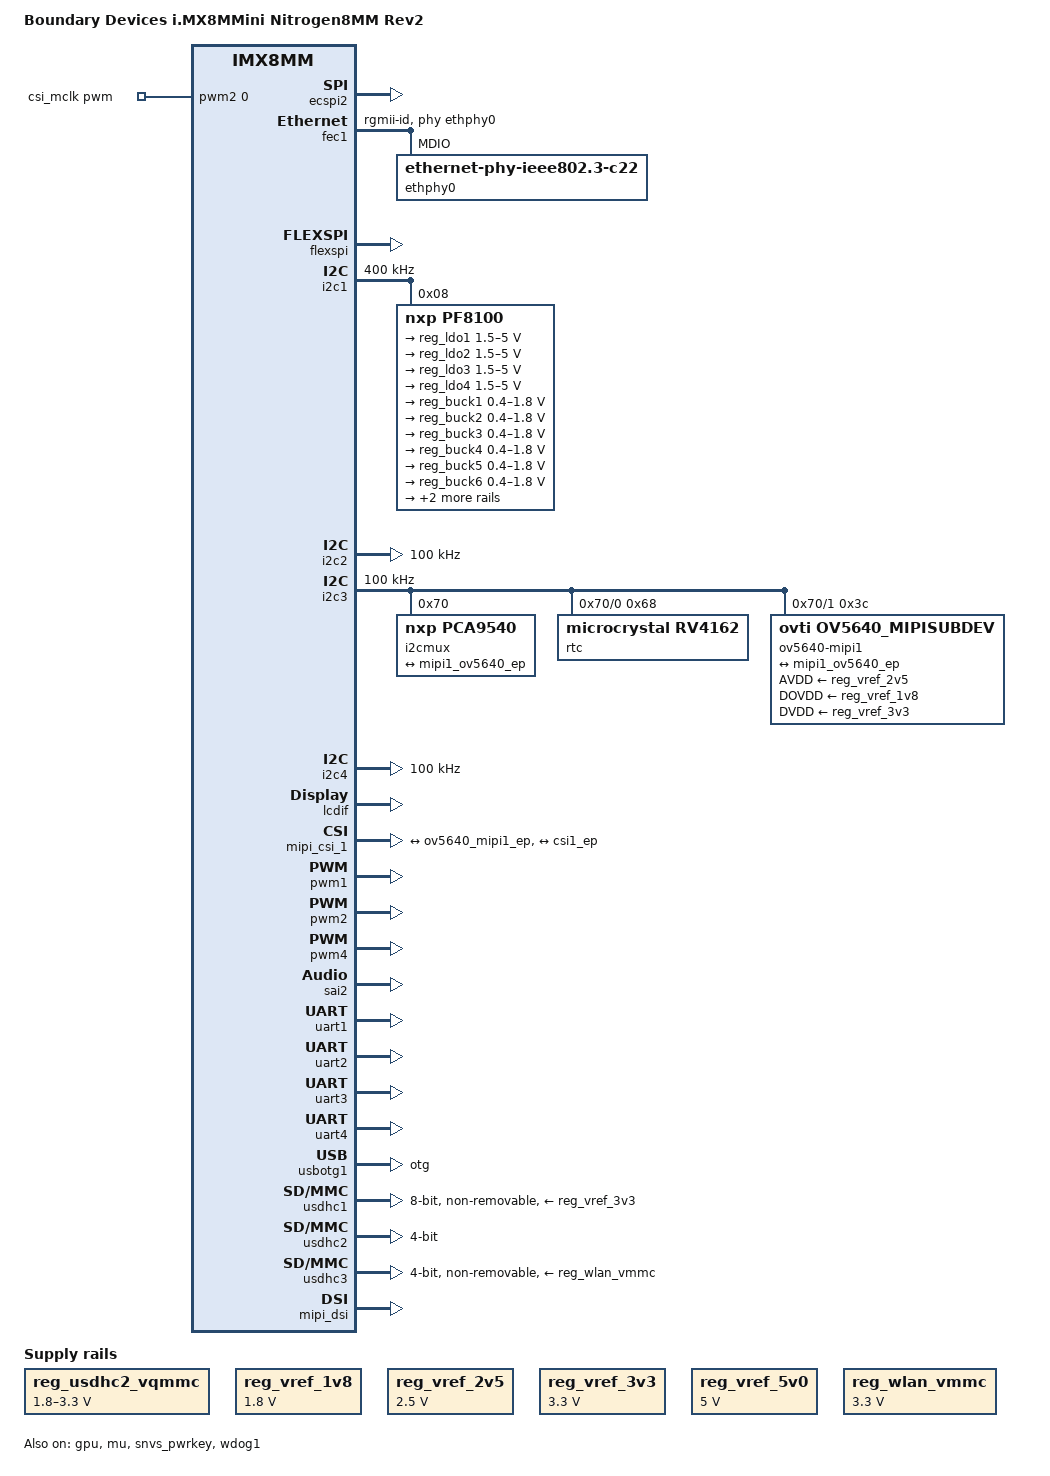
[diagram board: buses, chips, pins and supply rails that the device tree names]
// SPDX-License-Identifier: (GPL-2.0+ OR MIT)
/*
 * Copyright 2018 Boundary Devices
 */
&iomuxc {
	pinctrl-names = "default";
	pinctrl-0 = <&pinctrl_hog>;

	pinctrl_bt_rfkill: bt-rfkillgrp {
		fsl,pins = <
#define GP_BT_RFKILL_RESET	<&gpio3 14 GPIO_ACTIVE_LOW>
			MX8MMN(IOMUXC_NAND_DQS_GPIO3_IO14, 0x119)
		>;
	};

	pinctrl_ecspi2: ecspi2grp {
		fsl,pins = <
			/* J15 */
#define GP_ECSPI2_CS0	<&gpio5 13 GPIO_ACTIVE_LOW>
			MX8MMN(IOMUXC_ECSPI2_SS0_GPIO5_IO13, 0x140)	/* Pin 39 */
			MX8MMN(IOMUXC_ECSPI2_MISO_ECSPI2_MISO, 0x19)	/* Pin 41 */
			MX8MMN(IOMUXC_ECSPI2_SCLK_ECSPI2_SCLK, 0x19)	/* Pin 43 */
			MX8MMN(IOMUXC_ECSPI2_MOSI_ECSPI2_MOSI, 0x19)	/* Pin 45 */
		>;
	};

	pinctrl_fec1: fec1grp {
		fsl,pins = <
			/* PAD_CTL_ODE is screwy on 8mm mini, avoid it */
#define GP_MII_MDC	<&gpio1 16 GPIO_PULSE_HIGH>
			MX8MMN(IOMUXC_ENET_MDC_GPIO1_IO16, 0x00)
#define GP_MII_MDIO	<&gpio1 17 GPIO_ACTIVE_HIGH>
			MX8MMN(IOMUXC_ENET_MDIO_GPIO1_IO17, 0x00)
			MX8MMN(IOMUXC_ENET_RD0_ENET1_RGMII_RD0, 0x91)
			MX8MMN(IOMUXC_ENET_RD1_ENET1_RGMII_RD1, 0x91)
			MX8MMN(IOMUXC_ENET_RD2_ENET1_RGMII_RD2, 0x91)
			MX8MMN(IOMUXC_ENET_RD3_ENET1_RGMII_RD3, 0x91)
			MX8MMN(IOMUXC_ENET_RXC_ENET1_RGMII_RXC, 0x91)
			MX8MMN(IOMUXC_ENET_RX_CTL_ENET1_RGMII_RX_CTL, 0x91)
			MX8MMN(IOMUXC_ENET_TD0_ENET1_RGMII_TD0, 0x10)
			MX8MMN(IOMUXC_ENET_TD1_ENET1_RGMII_TD1, 0x10)
			MX8MMN(IOMUXC_ENET_TD2_ENET1_RGMII_TD2, 0x10)
			MX8MMN(IOMUXC_ENET_TD3_ENET1_RGMII_TD3, 0x10)
			MX8MMN(IOMUXC_ENET_TXC_ENET1_RGMII_TXC, 0x12)
			MX8MMN(IOMUXC_ENET_TX_CTL_ENET1_RGMII_TX_CTL, 0x10)
#define GP_FEC1_RESET	<&gpio3 15 GPIO_ACTIVE_LOW>
			MX8MMN(IOMUXC_NAND_RE_B_GPIO3_IO15, 0x159)
#define GPIRQ_FEC1_PHY	<&gpio3 16 IRQ_TYPE_LEVEL_LOW>
			MX8MMN(IOMUXC_NAND_READY_B_GPIO3_IO16, 0x159)
		>;
	};

	pinctrl_flexspi: flexspigrp {
		fsl,pins = <
			MX8MMN(IOMUXC_NAND_ALE_QSPI_A_SCLK, 0x1c2)
			MX8MMN(IOMUXC_NAND_CE0_B_QSPI_A_SS0_B, 0x82)
			MX8MMN(IOMUXC_NAND_DATA00_QSPI_A_DATA0, 0x82)
			MX8MMN(IOMUXC_NAND_DATA01_QSPI_A_DATA1, 0x82)
			MX8MMN(IOMUXC_NAND_DATA02_QSPI_A_DATA2, 0x82)
			MX8MMN(IOMUXC_NAND_DATA03_QSPI_A_DATA3, 0x82)
		>;
	};

	pinctrl_hog: hoggrp {
		fsl,pins = <
			MX8MMN(IOMUXC_GPIO1_IO03_GPIO1_IO3, 0x09)
			MX8MMN(IOMUXC_GPIO1_IO08_GPIO1_IO8, 0x09)
		>;
	};

	pinctrl_i2c1: i2c1grp {
		fsl,pins = <
			MX8MMN(IOMUXC_I2C1_SCL_I2C1_SCL, 0x400001c3)
			MX8MMN(IOMUXC_I2C1_SDA_I2C1_SDA, 0x400001c3)
		>;
	};

	pinctrl_i2c1_1: i2c1_1grp {
		fsl,pins = <
#define GP_I2C1_SCL	<&gpio5 14 GPIO_OPEN_DRAIN>
			MX8MMN(IOMUXC_I2C1_SCL_GPIO5_IO14, 0x400001c3)
#define GP_I2C1_SDA	<&gpio5 15 GPIO_OPEN_DRAIN>
			MX8MMN(IOMUXC_I2C1_SDA_GPIO5_IO15, 0x400001c3)
		>;
	};

	pinctrl_i2c1_pf8100: i2c1-pf8100grp {
		fsl,pins = <
#define GP_I2C1_PF8100_EWARN	<&gpio3 3 GPIO_ACTIVE_LOW>
			MX8MMN(IOMUXC_NAND_CE2_B_GPIO3_IO3, 0x149)
#define GP_I2C1_PF8100_FAULT	<&gpio3 4 GPIO_ACTIVE_LOW>
			MX8MMN(IOMUXC_NAND_CE3_B_GPIO3_IO4, 0x149)
		>;
	};

	pinctrl_i2c2: i2c2grp {
		fsl,pins = <
			MX8MMN(IOMUXC_I2C2_SCL_I2C2_SCL, 0x400001c3)
			MX8MMN(IOMUXC_I2C2_SDA_I2C2_SDA, 0x400001c3)
		>;
	};

	pinctrl_i2c2_1: i2c2_1grp {
		fsl,pins = <
#define GP_I2C2_SCL	<&gpio5 16 GPIO_OPEN_DRAIN>
			MX8MMN(IOMUXC_I2C2_SCL_GPIO5_IO16, 0x400001c3)
#define GP_I2C2_SDA	<&gpio5 17 GPIO_OPEN_DRAIN>
			MX8MMN(IOMUXC_I2C2_SDA_GPIO5_IO17, 0x400001c3)
		>;
	};

	pinctrl_i2c3: i2c3grp {
		fsl,pins = <
			MX8MMN(IOMUXC_I2C3_SCL_I2C3_SCL, 0x400001c3)
			MX8MMN(IOMUXC_I2C3_SDA_I2C3_SDA, 0x400001c3)
		>;
	};

	pinctrl_i2c3_1: i2c3_1grp {
		fsl,pins = <
#define GP_I2C3_SCL	<&gpio5 18 GPIO_OPEN_DRAIN>
			MX8MMN(IOMUXC_I2C3_SCL_GPIO5_IO18, 0x400001c3)
#define GP_I2C3_SDA	<&gpio5 19 GPIO_OPEN_DRAIN>
			MX8MMN(IOMUXC_I2C3_SDA_GPIO5_IO19, 0x400001c3)
		>;
	};

	pinctrl_i2c3a_rv4162: i2c3a-rv4162grp {
		fsl,pins = <
#define GPIRQ_RV4162		<&gpio4 22 IRQ_TYPE_LEVEL_LOW>
			MX8MMN(IOMUXC_SAI2_RXC_GPIO4_IO22, 0x1c0)
		>;
	};

	pinctrl_i2c3b_ov5640_mipi: i2c3b-ov5640-mipigrp {
		fsl,pins = <
#define GP_OV5640_MIPI_POWER_DOWN	<&gpio1 5 GPIO_ACTIVE_HIGH>
			MX8MMN(IOMUXC_GPIO1_IO05_GPIO1_IO5, 0x141)
#define GP_OV5640_MIPI_RESET		<&gpio1 11 GPIO_ACTIVE_LOW>
			MX8MMN(IOMUXC_GPIO1_IO11_GPIO1_IO11, 0x101)
		>;
	};

	pinctrl_i2c4: i2c4grp {
		fsl,pins = <
			MX8MMN(IOMUXC_I2C4_SCL_I2C4_SCL, 0x400001c3)
			MX8MMN(IOMUXC_I2C4_SDA_I2C4_SDA, 0x400001c3)
		>;
	};

	pinctrl_i2c4_1: i2c4_1grp {
		fsl,pins = <
#define GP_I2C4_SCL	<&gpio5 20 GPIO_OPEN_DRAIN>
			MX8MMN(IOMUXC_I2C4_SCL_GPIO5_IO20, 0x400001c3)
#define GP_I2C4_SDA	<&gpio5 21 GPIO_OPEN_DRAIN>
			MX8MMN(IOMUXC_I2C4_SDA_GPIO5_IO21, 0x400001c3)
		>;
	};

	pinctrl_pwm1: pwm1grp {
		fsl,pins = <
			MX8MMN(IOMUXC_SPDIF_EXT_CLK_PWM1_OUT, 0x16)
		>;
	};

	pinctrl_pwm2: pwm2grp {
		fsl,pins = <
			MX8MMN(IOMUXC_SPDIF_RX_PWM2_OUT, 0x16)
		>;
	};

	pinctrl_pwm4: pwm4grp {
		fsl,pins = <
			MX8MMN(IOMUXC_SAI3_MCLK_PWM4_OUT, 0x16)
		>;
	};

	pinctrl_reg_usdhc2_vqmmc: reg_usdhc2_vqmmcgrp {
		fsl,pins = <
#define GP_USDHC2_VSEL	<&gpio3 2 GPIO_ACTIVE_HIGH>
			MX8MMN(IOMUXC_NAND_CE1_B_GPIO3_IO2, 0x16)
		>;
	};

	pinctrl_reg_wlan_vmmc: reg-wlan-vmmcgrp {
		fsl,pins = <
#define GP_REG_WLAN_VMMC	<&gpio3 20 GPIO_ACTIVE_HIGH>
			MX8MMN(IOMUXC_SAI5_RXC_GPIO3_IO20, 0x16)
		>;
	};

	pinctrl_sai2: sai2grp {
		fsl,pins = <
			/* Bluetooth PCM */
			MX8MMN(IOMUXC_SAI2_TXFS_SAI2_TX_SYNC, 0xd6)
			MX8MMN(IOMUXC_SAI2_TXC_SAI2_TX_BCLK, 0xd6)
			MX8MMN(IOMUXC_SAI2_TXD0_SAI2_TX_DATA0, 0xd6)
			MX8MMN(IOMUXC_SAI2_RXD0_SAI2_RX_DATA0, 0xd6)
		>;
	};

	pinctrl_sai3: sai3grp {
		fsl,pins = <
			/* J16 */
			MX8MMN(IOMUXC_SAI3_MCLK_SAI3_MCLK, 0xd6)	/* Pin 22 */
			MX8MMN(IOMUXC_SAI3_TXC_SAI3_TX_BCLK, 0xd6)	/* Pin 26 */
			MX8MMN(IOMUXC_SAI3_TXD_SAI3_TX_DATA0, 0xd6)	/* Pin 28 */
			MX8MMN(IOMUXC_SAI3_RXD_SAI3_RX_DATA0, 0xd6)	/* Pin 30 */
		>;
	};

	pinctrl_sai5: sai5grp {
		fsl,pins = <
			MX8MMN(IOMUXC_SAI5_MCLK_SAI5_MCLK, 0xd6)
			MX8MMN(IOMUXC_SAI5_RXD0_SAI5_RX_DATA0, 0xd6)
			MX8MMN(IOMUXC_SAI5_RXD1_SAI5_RX_DATA1, 0xd6)
			MX8MMN(IOMUXC_SAI5_RXD2_SAI5_RX_DATA2, 0xd6)
			MX8MMN(IOMUXC_SAI5_RXD3_SAI5_RX_DATA3, 0xd6)
		>;
	};

	pinctrl_sound_wm8960: sound-wm8960grp {
		fsl,pins = <
#define GP_WM8960_MIC_DET		<&gpio1 10 GPIO_ACTIVE_HIGH>
			MX8MMN(IOMUXC_GPIO1_IO10_GPIO1_IO10, 0x80)
#define GP_WM8960_HP_DET		<&gpio4 28 GPIO_ACTIVE_HIGH>
			MX8MMN(IOMUXC_SAI3_RXFS_GPIO4_IO28, 0x80)
		>;
	};

	pinctrl_uart1: uart1grp {
		fsl,pins = <
			MX8MMN(IOMUXC_UART1_RXD_UART1_DCE_RX, 0x140)
			MX8MMN(IOMUXC_UART1_TXD_UART1_DCE_TX, 0x140)
			MX8MMN(IOMUXC_UART3_RXD_UART1_DCE_CTS_B, 0x140)
			MX8MMN(IOMUXC_UART3_TXD_UART1_DCE_RTS_B, 0x140)
		>;
	};

	pinctrl_uart2: uart2grp {
		fsl,pins = <
			MX8MMN(IOMUXC_UART2_RXD_UART2_DCE_RX, 0x140)
			MX8MMN(IOMUXC_UART2_TXD_UART2_DCE_TX, 0x140)
		>;
	};

	pinctrl_uart3: uart3grp {
		fsl,pins = <
			MX8MMN(IOMUXC_ECSPI1_SCLK_UART3_DCE_RX, 0x140)
			MX8MMN(IOMUXC_ECSPI1_MOSI_UART3_DCE_TX, 0x140)
			MX8MMN(IOMUXC_ECSPI1_SS0_UART3_DCE_RTS_B, 0x140)
			MX8MMN(IOMUXC_ECSPI1_MISO_UART3_DCE_CTS_B, 0x140)
		>;
	};

	pinctrl_uart4: uart4grp {
		fsl,pins = <
			MX8MMN(IOMUXC_UART4_RXD_UART4_DCE_RX, 0x140)
			MX8MMN(IOMUXC_UART4_TXD_UART4_DCE_TX, 0x140)
		>;
	};

	pinctrl_usbotg1: usbotg1grp {
		fsl,pins = <
			MX8MMN(IOMUXC_GPIO1_IO12_USB1_OTG_PWR, 0x16)
			MX8MMN(IOMUXC_GPIO1_IO13_USB1_OTG_OC, 0x156)
		>;
	};

	pinctrl_usdhc1: usdhc1grp {
		fsl,pins = <
			MX8MMN(IOMUXC_SD1_CLK_USDHC1_CLK, 0x190)
			MX8MMN(IOMUXC_SD1_CMD_USDHC1_CMD, 0x1d0)
			MX8MMN(IOMUXC_SD1_DATA0_USDHC1_DATA0, 0x1d0)
			MX8MMN(IOMUXC_SD1_DATA1_USDHC1_DATA1, 0x1d0)
			MX8MMN(IOMUXC_SD1_DATA2_USDHC1_DATA2, 0x1d0)
			MX8MMN(IOMUXC_SD1_DATA3_USDHC1_DATA3, 0x1d0)
			MX8MMN(IOMUXC_SD1_DATA4_USDHC1_DATA4, 0x1d0)
			MX8MMN(IOMUXC_SD1_DATA5_USDHC1_DATA5, 0x1d0)
			MX8MMN(IOMUXC_SD1_DATA6_USDHC1_DATA6, 0x1d0)
			MX8MMN(IOMUXC_SD1_DATA7_USDHC1_DATA7, 0x1d0)
#define GP_EMMC_RESET		<&gpio2 10 GPIO_ACTIVE_LOW>
			MX8MMN(IOMUXC_SD1_RESET_B_GPIO2_IO10, 0x141)
		>;
	};

	pinctrl_usdhc1_100mhz: usdhc1grp100mhz {
		fsl,pins = <
			MX8MMN(IOMUXC_SD1_CLK_USDHC1_CLK, 0x194)
			MX8MMN(IOMUXC_SD1_CMD_USDHC1_CMD, 0x1d4)
			MX8MMN(IOMUXC_SD1_DATA0_USDHC1_DATA0, 0x1d4)
			MX8MMN(IOMUXC_SD1_DATA1_USDHC1_DATA1, 0x1d4)
			MX8MMN(IOMUXC_SD1_DATA2_USDHC1_DATA2, 0x1d4)
			MX8MMN(IOMUXC_SD1_DATA3_USDHC1_DATA3, 0x1d4)
			MX8MMN(IOMUXC_SD1_DATA4_USDHC1_DATA4, 0x1d4)
			MX8MMN(IOMUXC_SD1_DATA5_USDHC1_DATA5, 0x1d4)
			MX8MMN(IOMUXC_SD1_DATA6_USDHC1_DATA6, 0x1d4)
			MX8MMN(IOMUXC_SD1_DATA7_USDHC1_DATA7, 0x1d4)
		>;
	};

	pinctrl_usdhc1_200mhz: usdhc1grp200mhz {
		fsl,pins = <
			MX8MMN(IOMUXC_SD1_CLK_USDHC1_CLK, 0x196)
			MX8MMN(IOMUXC_SD1_CMD_USDHC1_CMD, 0x1d6)
			MX8MMN(IOMUXC_SD1_DATA0_USDHC1_DATA0, 0x1d6)
			MX8MMN(IOMUXC_SD1_DATA1_USDHC1_DATA1, 0x1d6)
			MX8MMN(IOMUXC_SD1_DATA2_USDHC1_DATA2, 0x1d6)
			MX8MMN(IOMUXC_SD1_DATA3_USDHC1_DATA3, 0x1d6)
			MX8MMN(IOMUXC_SD1_DATA4_USDHC1_DATA4, 0x1d6)
			MX8MMN(IOMUXC_SD1_DATA5_USDHC1_DATA5, 0x1d6)
			MX8MMN(IOMUXC_SD1_DATA6_USDHC1_DATA6, 0x1d6)
			MX8MMN(IOMUXC_SD1_DATA7_USDHC1_DATA7, 0x1d6)
		>;
	};

	pinctrl_usdhc2: usdhc2grp {
		fsl,pins = <
			MX8MMN(IOMUXC_SD2_CLK_USDHC2_CLK, 0x190)
			MX8MMN(IOMUXC_SD2_CMD_USDHC2_CMD, 0x1d0)
			MX8MMN(IOMUXC_SD2_DATA0_USDHC2_DATA0, 0x1d0)
			MX8MMN(IOMUXC_SD2_DATA1_USDHC2_DATA1, 0x1d0)
			MX8MMN(IOMUXC_SD2_DATA2_USDHC2_DATA2, 0x1d0)
			MX8MMN(IOMUXC_SD2_DATA3_USDHC2_DATA3, 0x1d0)
#define GP_USDHC2_CD	<&gpio2 12 GPIO_ACTIVE_LOW>
			MX8MMN(IOMUXC_SD2_CD_B_GPIO2_IO12, 0x1c4)
		>;
	};

	pinctrl_usdhc2_100mhz: usdhc2grp100mhz {
		fsl,pins = <
			MX8MMN(IOMUXC_SD2_CLK_USDHC2_CLK, 0x194)
			MX8MMN(IOMUXC_SD2_CMD_USDHC2_CMD, 0x1d4)
			MX8MMN(IOMUXC_SD2_DATA0_USDHC2_DATA0, 0x1d4)
			MX8MMN(IOMUXC_SD2_DATA1_USDHC2_DATA1, 0x1d4)
			MX8MMN(IOMUXC_SD2_DATA2_USDHC2_DATA2, 0x1d4)
			MX8MMN(IOMUXC_SD2_DATA3_USDHC2_DATA3, 0x1d4)
		>;
	};

	pinctrl_usdhc2_200mhz: usdhc2grp200mhz {
		fsl,pins = <
			MX8MMN(IOMUXC_SD2_CLK_USDHC2_CLK, 0x196)
			MX8MMN(IOMUXC_SD2_CMD_USDHC2_CMD, 0x1d6)
			MX8MMN(IOMUXC_SD2_DATA0_USDHC2_DATA0, 0x1d6)
			MX8MMN(IOMUXC_SD2_DATA1_USDHC2_DATA1, 0x1d6)
			MX8MMN(IOMUXC_SD2_DATA2_USDHC2_DATA2, 0x1d6)
			MX8MMN(IOMUXC_SD2_DATA3_USDHC2_DATA3, 0x1d6)
		>;
	};

	pinctrl_usdhc3: usdhc3grp {
		fsl,pins = <
			MX8MMN(IOMUXC_NAND_WE_B_USDHC3_CLK, 0x190)
			MX8MMN(IOMUXC_NAND_WP_B_USDHC3_CMD, 0x1d0)
			MX8MMN(IOMUXC_NAND_DATA04_USDHC3_DATA0, 0x1d0)
			MX8MMN(IOMUXC_NAND_DATA05_USDHC3_DATA1, 0x1d0)
			MX8MMN(IOMUXC_NAND_DATA06_USDHC3_DATA2, 0x1d0)
			MX8MMN(IOMUXC_NAND_DATA07_USDHC3_DATA3, 0x1d0)
			/* Bluetooth slow clock */
			MX8MMN(IOMUXC_GPIO1_IO00_ANAMIX_REF_CLK_32K, 0x03)
		>;
	};

	pinctrl_usdhc3_100mhz: usdhc3grp100mhz {
		fsl,pins = <
			MX8MMN(IOMUXC_NAND_WE_B_USDHC3_CLK, 0x194)
			MX8MMN(IOMUXC_NAND_WP_B_USDHC3_CMD, 0x1d4)
			MX8MMN(IOMUXC_NAND_DATA04_USDHC3_DATA0, 0x1d4)
			MX8MMN(IOMUXC_NAND_DATA05_USDHC3_DATA1, 0x1d4)
			MX8MMN(IOMUXC_NAND_DATA06_USDHC3_DATA2, 0x1d4)
			MX8MMN(IOMUXC_NAND_DATA07_USDHC3_DATA3, 0x1d4)
		>;
	};

	pinctrl_usdhc3_200mhz: usdhc3grp200mhz {
		fsl,pins = <
			MX8MMN(IOMUXC_NAND_WE_B_USDHC3_CLK, 0x196)
			MX8MMN(IOMUXC_NAND_WP_B_USDHC3_CMD, 0x1d6)
			MX8MMN(IOMUXC_NAND_DATA04_USDHC3_DATA0, 0x1d6)
			MX8MMN(IOMUXC_NAND_DATA05_USDHC3_DATA1, 0x1d6)
			MX8MMN(IOMUXC_NAND_DATA06_USDHC3_DATA2, 0x1d6)
			MX8MMN(IOMUXC_NAND_DATA07_USDHC3_DATA3, 0x1d6)
		>;
	};

	pinctrl_wdog: wdoggrp {
		fsl,pins = <
			MX8MMN(IOMUXC_GPIO1_IO02_WDOG1_WDOG_B, 0x140)
		>;
	};
};

/ {
	model = "Boundary Devices i.MX8MMini Nitrogen8MM Rev2";
	compatible = "boundary,imx8mm-nitrogen8mm_rev2", "fsl,imx8mm";

	aliases {
		a53 = &A53_0;
	};

	bt-rfkill {
		compatible = "net,rfkill-gpio";
		pinctrl-names = "default";
		pinctrl-0 = <&pinctrl_bt_rfkill>;
		name = "bt-rfkill";
		type = <2>; /* Bluetooth */
		reset-gpios = GP_BT_RFKILL_RESET;
		status = "okay";
	};

	csi_mclk: csi-mclk {
		compatible = "pwm-clock";
		#clock-cells = <0>;
		clock-frequency = <20000000>;
		clock-output-names = "csi_mclk";
		pwms = <&pwm2 0 50>; /* 1 / 50 ns = 20 MHz */
	};

	reg_usdhc2_vqmmc: regulator-usdhc2-vqmmc {
		compatible = "regulator-gpio";
		pinctrl-names = "default";
		pinctrl-0 = <&pinctrl_reg_usdhc2_vqmmc>;
		regulator-name = "reg_sd2_vsel";
		regulator-min-microvolt = <1800000>;
		regulator-max-microvolt = <3300000>;
		regulator-type = "voltage";
		regulator-boot-on;
		regulator-always-on;
		gpios = GP_USDHC2_VSEL;
		states = <1800000 0x1
			  3300000 0x0>;
	};

	reg_vref_1v8: regulator-vref-1v8 {
		compatible = "regulator-fixed";
		regulator-name = "vref-1v8";
		regulator-min-microvolt = <1800000>;
		regulator-max-microvolt = <1800000>;
	};

	reg_vref_2v5: regulator-vref-2v5 {
		compatible = "regulator-fixed";
		regulator-name = "vref-2v5";
		regulator-min-microvolt = <2500000>;
		regulator-max-microvolt = <2500000>;
	};

	reg_vref_3v3: regulator-vref-3v3 {
		compatible = "regulator-fixed";
		regulator-name = "vref-3v3";
		regulator-min-microvolt = <3300000>;
		regulator-max-microvolt = <3300000>;
	};

	reg_vref_5v0: regulator-vref-5v {
		compatible = "regulator-fixed";
		regulator-name = "vref-5v";
		regulator-min-microvolt = <5000000>;
		regulator-max-microvolt = <5000000>;
	};

	reg_wlan_vmmc: regulator-wlan-vmmc {
		compatible = "regulator-fixed";
		pinctrl-names = "default";
		pinctrl-0 = <&pinctrl_reg_wlan_vmmc>;
		regulator-name = "reg_wlan_vmmc";
		regulator-min-microvolt = <3300000>;
		regulator-max-microvolt = <3300000>;
		gpio = GP_REG_WLAN_VMMC;
		startup-delay-us = <70000>;
		enable-active-high;
	};
};

&A53_0 {
	cpu-supply = <&reg_buck3>;
};

&ecspi2 {
	pinctrl-names = "default";
	pinctrl-0 = <&pinctrl_ecspi2>;
	fsl,spi-num-chipselects = <1>;
	cs-gpios = GP_ECSPI2_CS0;
	status = "okay";
	#address-cells = <1>;
	#size-cells = <0>;
};

&fec1 {
	mdc-gpios = GP_MII_MDC;
	mdio-gpios = GP_MII_MDIO;
	pinctrl-names = "default";
	pinctrl-0 = <&pinctrl_fec1>;
#if 0
	phy-reset-gpios = GP_FEC1_RESET;
#endif
	phy-mode = "rgmii-id";
	phy-handle = <&ethphy0>;
	fsl,magic-packet;
	status = "okay";

	mdio {
		#address-cells = <1>;
		#size-cells = <0>;

		ethphy0: ethernet-phy {
			compatible = "ethernet-phy-ieee802.3-c22";
			interrupts-extended = GPIRQ_FEC1_PHY;
			reg-mask = <0x90>;
			rxc-skew-ps = <3000>;
			rxd0-skew-ps = <0>;
			rxd1-skew-ps = <0>;
			rxd2-skew-ps = <0>;
			rxd3-skew-ps = <0>;
			rxdv-skew-ps = <0>;
			txc-skew-ps = <3000>;
			txd0-skew-ps = <0>;
			txd1-skew-ps = <0>;
			txd2-skew-ps = <0>;
			txd3-skew-ps = <0>;
			txen-skew-ps = <0>;
		};
	};
};

&flexspi {
	pinctrl-names = "default";
	pinctrl-0 = <&pinctrl_flexspi>;
	status = "okay";
};

&gpu {
	status = "okay";
};

&i2c1 {
	clock-frequency = <400000>;
	pinctrl-names = "default", "gpio";
	pinctrl-0 = <&pinctrl_i2c1>;
	pinctrl-1 = <&pinctrl_i2c1_1>;
	scl-gpios = GP_I2C1_SCL;
	sda-gpios = GP_I2C1_SDA;
	status = "okay";

	pf8100@8 {
		compatible = "nxp,pf8100";
		pinctrl-names = "default";
		pinctrl-0 = <&pinctrl_i2c1_pf8100>;
		reg = <0x08>;

		regulators {
			reg_ldo1: ldo1 {
				regulator-always-on;
				regulator-boot-on;
				regulator-max-microvolt = <5000000>;
				regulator-min-microvolt = <1500000>;
			};

			reg_ldo2: ldo2 {
				regulator-always-on;
				regulator-boot-on;
				regulator-max-microvolt = <5000000>;
				regulator-min-microvolt = <1500000>;
#if 0
				/* vselect low is 3.3V, high is 1.8V */
				vselect-en;
#endif
			};

			reg_ldo3: ldo3 {
				regulator-always-on;
				regulator-boot-on;
				regulator-max-microvolt = <5000000>;
				regulator-min-microvolt = <1500000>;
			};

			reg_ldo4: ldo4 {
				regulator-always-on;
				regulator-boot-on;
				regulator-max-microvolt = <5000000>;
				regulator-min-microvolt = <1500000>;
			};

			reg_buck1: buck1 {
				nxp,phase-shift = <0>;
				regulator-max-microamp = <4500000>;
				regulator-always-on;
				regulator-boot-on;
				regulator-max-microvolt = <1800000>;
				regulator-min-microvolt =  <400000>;
			};

			reg_buck2: buck2 {
				regulator-always-on;
				regulator-boot-on;
				regulator-max-microvolt = <1800000>;
				regulator-min-microvolt =  <400000>;
			};

			reg_buck3: buck3 {
				regulator-always-on;
				regulator-boot-on;
				regulator-max-microvolt = <1800000>;
				regulator-min-microvolt =  <400000>;
				fast-slew = <1>;
			};

			reg_buck4: buck4 {
				regulator-always-on;
				regulator-boot-on;
				regulator-max-microvolt = <1800000>;
				regulator-min-microvolt =  <400000>;
				fast-slew = <1>;
			};

			reg_buck5: buck5 {
				regulator-boot-on;
				regulator-max-microvolt = <1800000>;
				regulator-min-microvolt =  <400000>;
			};

			reg_buck6: buck6 {
				regulator-always-on;
				regulator-boot-on;
				regulator-max-microvolt = <1800000>;
				regulator-min-microvolt =  <400000>;
			};

			reg_buck7: buck7 {
				regulator-always-on;
				regulator-boot-on;
				regulator-max-microvolt = <4100000>;
				regulator-min-microvolt = <1000000>;
			};

			reg_vsnvs: vsnvs {
				regulator-always-on;
				regulator-boot-on;
				regulator-max-microvolt = <3300000>;
				regulator-min-microvolt = <1800000>;
			};
		};
	};
};

&i2c2 {
	clock-frequency = <100000>;
	pinctrl-names = "default", "gpio";
	pinctrl-0 = <&pinctrl_i2c2>;
	pinctrl-1 = <&pinctrl_i2c2_1>;
	scl-gpios = GP_I2C2_SCL;
	sda-gpios = GP_I2C2_SDA;
	status = "okay";
};

&i2c3 {
	clock-frequency = <100000>;
	pinctrl-names = "default", "gpio";
	pinctrl-0 = <&pinctrl_i2c3>;
	pinctrl-1 = <&pinctrl_i2c3_1>;
	scl-gpios = GP_I2C3_SCL;
	sda-gpios = GP_I2C3_SDA;
	status = "okay";

	i2cmux@70 {
		compatible = "nxp,pca9540";
		reg = <0x70>;
		#address-cells = <1>;
		#size-cells = <0>;

		i2c3a: i2c3@0 {
			reg = <0>;
			#address-cells = <1>;
			#size-cells = <0>;
		};

		i2c3b: i2c3@1 {
			reg = <1>;
			#address-cells = <1>;
			#size-cells = <0>;
		};
	};
};

&i2c3a {
	rtc@68 {
		compatible = "microcrystal,rv4162";
		pinctrl-names = "default";
		pinctrl-0 = <&pinctrl_i2c3a_rv4162>;
		reg = <0x68>;
		interrupts-extended = GPIRQ_RV4162;
		wakeup-source;
	};
};

&i2c3b {
	ov5640-mipi1@3c {
		AVDD-supply = <&reg_vref_2v5>;
		DOVDD-supply = <&reg_vref_1v8>;
		DVDD-supply = <&reg_vref_3v3>;
		clocks = <&csi_mclk>;
		clock-names = "xclk";
		compatible = "ovti,ov5640_mipisubdev";
		csi_id = <0>;
		mclk = <20000000>;
		mipi_csi;
		pinctrl-names = "default";
		pinctrl-0 = <&pinctrl_i2c3b_ov5640_mipi>;
		powerdown-gpios = GP_OV5640_MIPI_POWER_DOWN;
		reg = <0x3c>;
		reset-gpios = GP_OV5640_MIPI_RESET;
		status = "okay";

		port {
			ov5640_mipi1_ep: endpoint {
				remote-endpoint = <&mipi1_ov5640_ep>;
			};
		};
	};
};

&i2c4 {
	clock-frequency = <100000>;
	pinctrl-names = "default", "gpio";
	pinctrl-0 = <&pinctrl_i2c4>;
	pinctrl-1 = <&pinctrl_i2c4_1>;
	scl-gpios = GP_I2C4_SCL;
	sda-gpios = GP_I2C4_SDA;
	status = "okay";
};

#ifndef SKIP_MIPI_PANELS
&lcdif {
	status = "okay";
};
#endif

&mipi_csi_1 {
	#address-cells = <1>;
	#size-cells = <0>;
	status = "okay";
	port {
		mipi1_ov5640_ep: endpoint@1 {
			remote-endpoint = <&ov5640_mipi1_ep>;
			data-lanes = <2>;
			csis-hs-settle = <13>;
			csis-clk-settle = <2>;
			csis-wclk;
		};

		csi1_mipi_ep: endpoint@2 {
			remote-endpoint = <&csi1_ep>;
		};
	};
};

&mu {
	status = "okay";
};

&pwm1 {
	pinctrl-names = "default";
	pinctrl-0 = <&pinctrl_pwm1>;
	status = "okay";
};

&pwm2 {
	assigned-clocks = <&clk IMX8MMN(CLK_PWM2)>;
	assigned-clock-parents = <&clk IMX8MMN(SYS_PLL1_40M)>;
	assigned-clock-rates = <40000000>;
	pinctrl-names = "default";
	pinctrl-0 = <&pinctrl_pwm2>;
	status = "okay";
};

&pwm4 {
	pinctrl-names = "default";
	pinctrl-0 = <&pinctrl_pwm4>;
	status = "okay";
};

&sai2 {
	pinctrl-names = "default";
	pinctrl-0 = <&pinctrl_sai2>;
	status = "okay";
};

&sai3 {
	pinctrl-names = "default";
	pinctrl-0 = <&pinctrl_sai3>;
	status = "disabled";
};

&sai5 {
	pinctrl-names = "default";
	pinctrl-0 = <&pinctrl_sai5>;
	status = "disabled";
};

&snvs_pwrkey {
	status = "okay";
};

&uart1 { /* BT */
	pinctrl-names = "default";
	pinctrl-0 = <&pinctrl_uart1>;
	assigned-clocks = <&clk IMX8MMN(CLK_UART1)>;
	assigned-clock-parents = <&clk IMX8MMN(SYS_PLL1_80M)>;
	uart-has-rtscts;
	status = "okay";
};

&uart2 { /* console */
	pinctrl-names = "default";
	pinctrl-0 = <&pinctrl_uart2>;
	assigned-clocks = <&clk IMX8MMN(CLK_UART2)>;
	assigned-clock-parents = <&clk IMX8MMN(CLK_24M)>;
	status = "okay";
};

&uart3 { /* J15 */
	pinctrl-names = "default";
	pinctrl-0 = <&pinctrl_uart3>;
	assigned-clocks = <&clk IMX8MMN(CLK_UART3)>;
	assigned-clock-parents = <&clk IMX8MMN(SYS_PLL1_80M)>;
	uart-has-rtscts;
	status = "okay";
};

&uart4 {
	pinctrl-names = "default";
	pinctrl-0 = <&pinctrl_uart4>;
	assigned-clocks = <&clk IMX8MMN(CLK_UART4)>;
	assigned-clock-parents = <&clk IMX8MMN(SYS_PLL1_80M)>;
	status = "okay";
};

&usbotg1 {
	dr_mode = "otg";
	over-current-active-low;
	pinctrl-names = "default";
	pinctrl-0 = <&pinctrl_usbotg1>;
	power-active-high;
	status = "okay";
};

&usdhc1 {
	bus-width = <8>;
	no-mmc-hs400;
	non-removable;
	pinctrl-names = "default", "state_100mhz", "state_200mhz";
	pinctrl-0 = <&pinctrl_usdhc1>;
	pinctrl-1 = <&pinctrl_usdhc1_100mhz>;
	pinctrl-2 = <&pinctrl_usdhc1_200mhz>;
	status = "okay";
	vmmc-supply = <&reg_vref_3v3>;
	vqmmc-1-8-v;
	vqmmc-supply = <&reg_vref_1v8>;
};

&usdhc2 {
	bus-width = <4>;
	cd-gpios = GP_USDHC2_CD;
	pinctrl-names = "default", "state_100mhz", "state_200mhz";
	pinctrl-0 = <&pinctrl_usdhc2>;
	pinctrl-1 = <&pinctrl_usdhc2_100mhz>;
	pinctrl-2 = <&pinctrl_usdhc2_200mhz>;
	status = "okay";
#if 0
	vqmmc-supply = <&reg_usdhc2_vqmmc>;
#else
	vqmmc-supply = <&reg_ldo2>;
#endif
};

&usdhc3 {
	bus-width = <4>;
	fsl,sdio-async-interrupt-enabled;
	keep-power-in-suspend;
	no-sd-uhs-sdr104;
	non-removable;
	pinctrl-names = "default", "state_100mhz", "state_200mhz";
	pinctrl-0 = <&pinctrl_usdhc3>;
	pinctrl-1 = <&pinctrl_usdhc3_100mhz>;
	pinctrl-2 = <&pinctrl_usdhc3_200mhz>;
	pm-ignore-notify;
	status = "okay";
	vmmc-supply = <&reg_wlan_vmmc>;
	vqmmc-1-8-v;
	vqmmc-supply = <&reg_vref_1v8>;
};

&wdog1 {
	pinctrl-names = "default";
	pinctrl-0 = <&pinctrl_wdog>;
	fsl,ext-reset-output;
	status = "okay";
};

#ifndef SKIP_MIPI_PANELS

/* J11 mipi display */
#define MIPI_DISPLAY		lcdif
#define MIPI_SUBSYSTEM		display_subsystem
#ifndef MIPI_I2C_BUS
#define MIPI_I2C_BUS		i2c2
#endif
#define MIPI_PHY_CLOCK		<&mipi_dsi 0>
#define MIPI_PIXEL_CLOCK	<&clk IMX8MMN(CLK_LCDIF_PIXEL)>

#ifndef MIPI_PWM
#define MIPI_PWM		pwm3
#define MIPI_PWM_GP		gpio5 3
#define MIPI_PWM_PAD		_MX8MMN(IOMUXC_SPDIF_TX_PWM3_OUT)
#define MIPI_PWM_PAD_GPIO	_MX8MMN(IOMUXC_SPDIF_TX_GPIO5_IO3)	/* Pin 7 */
#endif

#define MIPI_IRQ_GP		gpio1 1
#define MIPI_IRQ_PAD		_MX8MMN(IOMUXC_GPIO1_IO01_GPIO1_IO1)	/* Pin 8 */

#define MIPI_TS_IRQ_GP		gpio1 6
#define MIPI_TS_IRQ_PAD		_MX8MMN(IOMUXC_GPIO1_IO06_GPIO1_IO6)	/* Pin 9 */

#define MIPI_TS_RESET_GP	gpio1 7
#define MIPI_TS_RESET_PAD	_MX8MMN(IOMUXC_GPIO1_IO07_GPIO1_IO7)	/* Pin 10 */

#ifndef MIPI_ENABLE_PAD
#define MIPI_ENABLE_GP		gpio1 9
#define MIPI_ENABLE_PAD		_MX8MMN(IOMUXC_GPIO1_IO09_GPIO1_IO9)	/* Pin 11 */
#endif

#define PAD_NOPULL		0x0
#define PAD_PULLDN		0x100
#define PAD_PULLUPIRQ		0x1c0
#define PAD_PULLDNIRQ		0x180
#include "nitrogen-mipi-dsi.dtsi"

&mipi_dsi {
	assigned-clocks = <&clk IMX8MMN(CLK_DSI_CORE)>,
			  <&clk IMX8MMN(CLK_DSI_PHY_REF)>,
			  <&clk IMX8MMN(VIDEO_PLL1_REF_SEL)>,
			  <&clk IMX8MMN(CLK_LCDIF_PIXEL)>;
	assigned-clock-parents = <&clk IMX8MMN(SYS_PLL1_266M)>,
				 <&clk IMX8MMN(VIDEO_PLL1_OUT)>,
				 <&clk IMX8MMN(CLK_24M)>;
	assigned-clock-rates = <266000000>, <0>, <0>, <66000000>;

	clocks = <&clk IMX8MMN(CLK_DSI_CORE)>,
		 <&clk IMX8MMN(CLK_DSI_PHY_REF)>,
		 <&clk IMX8MMN(CLK_LCDIF_PIXEL)>;
	clock-names = "cfg", "pll-ref", "pixel_clock";
	status = "okay";
};

&spi_lcd {
	assigned-clocks = <&clk IMX8MMN(VIDEO_PLL1)>;
	assigned-clock-rates = <384000000>;
};
#endif
